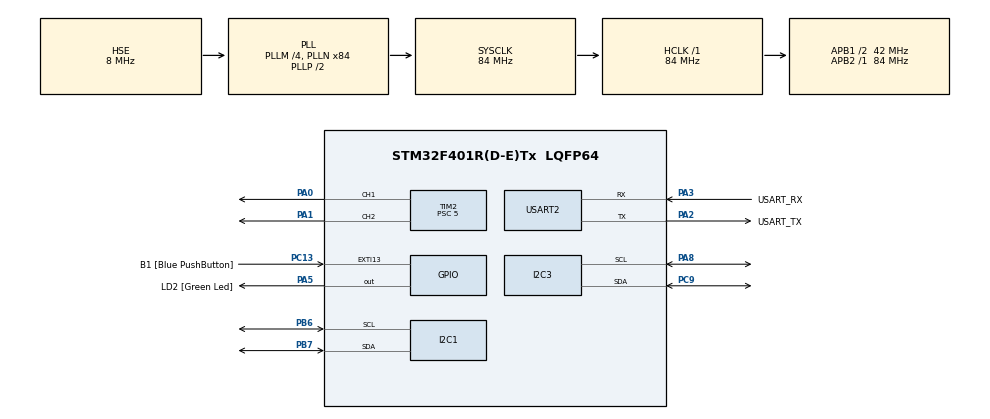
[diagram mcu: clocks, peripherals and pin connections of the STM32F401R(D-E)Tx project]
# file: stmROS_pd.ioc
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Dma.Request0=USART2_RX
Dma.Request1=USART2_TX
Dma.USART2_RX.0.Direction=DMA_PERIPH_TO_MEMORY
Dma.USART2_RX.0.FIFOMode=DMA_FIFOMODE_DISABLE
Dma.USART2_RX.0.Instance=DMA1_Stream5
Dma.USART2_RX.0.MemDataAlignment=DMA_MDATAALIGN_BYTE
Dma.USART2_RX.0.MemInc=DMA_MINC_ENABLE
Dma.USART2_RX.0.Mode=DMA_CIRCULAR
Dma.USART2_RX.0.PeriphDataAlignment=DMA_PDATAALIGN_BYTE
Dma.USART2_RX.0.PeriphInc=DMA_PINC_DISABLE
Dma.USART2_RX.0.Priority=DMA_PRIORITY_VERY_HIGH
Dma.USART2_TX.1.Direction=DMA_MEMORY_TO_PERIPH
Dma.USART2_TX.1.FIFOMode=DMA_FIFOMODE_DISABLE
Dma.USART2_TX.1.Instance=DMA1_Stream6
Dma.USART2_TX.1.MemDataAlignment=DMA_MDATAALIGN_BYTE
Dma.USART2_TX.1.MemInc=DMA_MINC_ENABLE
Dma.USART2_TX.1.Mode=DMA_NORMAL
Dma.USART2_TX.1.PeriphDataAlignment=DMA_PDATAALIGN_BYTE
Dma.USART2_TX.1.PeriphInc=DMA_PINC_DISABLE
Dma.USART2_TX.1.Priority=DMA_PRIORITY_VERY_HIGH
FREERTOS.Tasks01=defaultTask,24,3000,StartDefaultTask,Default,NULL,Static,defaultTaskBuffer,defaultTaskControlBlock
FREERTOS.configUSE_NEWLIB_REENTRANT=1
Mcu.Family=STM32F4
Mcu.Name=STM32F401R(D-E)Tx
Mcu.Package=LQFP64
NVIC.DMA1_Stream5_IRQn=true\:5\:0\:false\:false\:true\:true\:false\:true\:true
NVIC.DMA1_Stream6_IRQn=true\:5\:0\:false\:false\:true\:true\:false\:true\:true
NVIC.PriorityGroup=NVIC_PRIORITYGROUP_4
NVIC.TIM1_UP_TIM10_IRQn=true\:15\:0\:false\:false\:true\:false\:false\:true\:true
NVIC.TIM3_IRQn=true\:5\:0\:false\:false\:true\:true\:true\:true\:true
NVIC.TimeBase=TIM1_UP_TIM10_IRQn
NVIC.TimeBaseIP=TIM1
NVIC.USART2_IRQn=true\:5\:0\:false\:false\:true\:true\:true\:true\:true
PA0-WKUP.Signal=S_TIM2_CH1_ETR
PA1.Signal=S_TIM2_CH2
PA13.GPIO_Label=TMS
PA13.Signal=SYS_JTMS-SWDIO
PA14.GPIO_Label=TCK
PA14.Signal=SYS_JTCK-SWCLK
PA2.GPIO_Label=USART_TX
PA2.GPIO_Mode=GPIO_MODE_AF_PP
PA2.GPIO_PuPd=GPIO_NOPULL
PA2.GPIO_Speed=GPIO_SPEED_FREQ_LOW
PA2.Mode=Asynchronous
PA2.Signal=USART2_TX
PA3.GPIO_Label=USART_RX
PA3.GPIO_Mode=GPIO_MODE_AF_PP
PA3.GPIO_PuPd=GPIO_NOPULL
PA3.GPIO_Speed=GPIO_SPEED_FREQ_LOW
PA3.Mode=Asynchronous
PA3.Signal=USART2_RX
PA5.GPIO_Label=LD2 [Green Led]
PA5.GPIO_Mode=GPIO_MODE_OUTPUT_PP
PA5.GPIO_PuPd=GPIO_NOPULL
PA5.GPIO_Speed=GPIO_SPEED_FREQ_LOW
PA5.Signal=GPIO_Output
PA8.Mode=I2C
PA8.Signal=I2C3_SCL
PB3.GPIO_Label=SWO
PB3.Signal=SYS_JTDO-SWO
PB6.Mode=I2C
PB6.Signal=I2C1_SCL
PB7.Mode=I2C
PB7.Signal=I2C1_SDA
PC13-ANTI_TAMP.GPIO_Label=B1 [Blue PushButton]
PC13-ANTI_TAMP.GPIO_ModeDefaultEXTI=GPIO_MODE_IT_FALLING
PC13-ANTI_TAMP.GPIO_PuPd=GPIO_NOPULL
PC13-ANTI_TAMP.Signal=GPXTI13
PC14-OSC32_IN.Signal=RCC_OSC32_IN
PC15-OSC32_OUT.Signal=RCC_OSC32_OUT
PC9.Mode=I2C
PC9.Signal=I2C3_SDA
PH0\ -\ OSC_IN.Mode=HSE-External-Oscillator
PH0\ -\ OSC_IN.Signal=RCC_OSC_IN
PH1\ -\ OSC_OUT.Mode=HSE-External-Oscillator
PH1\ -\ OSC_OUT.Signal=RCC_OSC_OUT
ProjectManager.HeapSize=0x200
ProjectManager.StackSize=0x400
ProjectManager.TargetToolchain=STM32CubeIDE
RCC.48MHZClocksFreq_Value=24000000
RCC.AHBFreq_Value=84000000
RCC.APB1CLKDivider=RCC_HCLK_DIV2
RCC.APB1Freq_Value=42000000
RCC.APB1TimFreq_Value=84000000
RCC.APB2Freq_Value=84000000
RCC.APB2TimFreq_Value=84000000
RCC.CortexFreq_Value=84000000
RCC.HCLKFreq_Value=84000000
RCC.HSE_VALUE=8000000
RCC.HSI_VALUE=16000000
RCC.LSE_VALUE=32768
RCC.PLLM=4
RCC.PLLN=84
RCC.PLLQ=7
RCC.PLLSourceVirtual=RCC_PLLSOURCE_HSE
RCC.SYSCLKFreq_VALUE=84000000
RCC.SYSCLKSource=RCC_SYSCLKSOURCE_PLLCLK
RCC.VCOOutputFreq_Value=168000000
SH.S_TIM2_CH1_ETR.0=TIM2_CH1,PWM Generation1 CH1
SH.S_TIM2_CH2.0=TIM2_CH2,PWM Generation2 CH2
TIM2.AutoReloadPreload=TIM_AUTORELOAD_PRELOAD_ENABLE
TIM2.Channel-PWM\ Generation1\ CH1=TIM_CHANNEL_1
TIM2.Channel-PWM\ Generation2\ CH2=TIM_CHANNEL_2
TIM2.Period=10000
TIM2.Prescaler=5
TIM3.AutoReloadPreload=TIM_AUTORELOAD_PRELOAD_DISABLE
TIM3.Period=4199
TIM3.Prescaler=999
TIM3.TIM_MasterOutputTrigger=TIM_TRGO_RESET
USART2.VirtualMode=VM_ASYNC
VP_FREERTOS_VS_CMSIS_V2.Mode=CMSIS_V2
VP_SYS_VS_tim1.Mode=TIM1
VP_TIM2_VS_ClockSourceINT.Mode=Internal
VP_TIM3_VS_ClockSourceINT.Mode=Internal
board=NUCLEO-F401RE

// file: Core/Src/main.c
/* USER CODE BEGIN Header */
/**
  ******************************************************************************
  * @file           : main.c
  * @brief          : Main program body
  ******************************************************************************
  * @attention
  *
  * Copyright (c) 2024 STMicroelectronics.
  * All rights reserved.
  *
  * This software is licensed under terms that can be found in the LICENSE file
  * in the root directory of this software component.
  * If no LICENSE file comes with this software, it is provided AS-IS.
  *
  ******************************************************************************
  */
/* USER CODE END Header */
#include "main.h"
#include "cmsis_os.h"

/* USER CODE BEGIN Includes */
#include <rcl/rcl.h>
#include <rcl/error_handling.h>
#include <rclc/rclc.h>
#include <rclc/executor.h>
#include <uxr/client/transport.h>
#include <rmw_microxrcedds_c/config.h>
#include <rmw_microros/rmw_microros.h>

#include <std_msgs/msg/int32.h>
#include <stdbool.h>
/* USER CODE END Includes */

typedef StaticTask_t osStaticThreadDef_t;

/* USER CODE BEGIN PD */
#define ENCODER_SAMPLE_TIME 0.05
//Pan PWM Control
#define PAN_TURNING_MAX 10000
#define PAN_TURNING_NO 6200
#define PAN_TURNING_MIN 0
//Tilt PWM Control
#define TILT_TURNING_MAX 10000
#define TILT_TURNING_NO 5000
#define TILT_TURNING_MIN 0
/* USER CODE END PD */

/* USER CODE BEGIN PM */
#define MAX_PEAKS 30
#define SAMPLES_PER_FRAME 3200
#define SAMPLES_PER_HALF_FRAME 1600
#define MIN_PEAK 420
#define MAX_PEAK_LENGTH 100
#define MIN_CONSECUTIVE_PEAKS 6
/* USER CODE END PM */

I2C_HandleTypeDef hi2c1;
I2C_HandleTypeDef hi2c3;

TIM_HandleTypeDef htim2;
TIM_HandleTypeDef htim3;

UART_HandleTypeDef huart2;
DMA_HandleTypeDef hdma_usart2_rx;
DMA_HandleTypeDef hdma_usart2_tx;

/* Definitions for defaultTask */
osThreadId_t defaultTaskHandle;
uint32_t defaultTaskBuffer[ 3000 ];
osStaticThreadDef_t defaultTaskControlBlock;
const osThreadAttr_t defaultTask_attributes = {
  .name = "defaultTask",
  .cb_mem = &defaultTaskControlBlock,
  .cb_size = sizeof(defaultTaskControlBlock),
  .stack_mem = &defaultTaskBuffer[0],
  .stack_size = sizeof(defaultTaskBuffer),
  .priority = (osPriority_t) osPriorityNormal,
};
/* USER CODE BEGIN PV */
static const uint8_t AS5600_ADDR_PAN = 0x36 << 1;
static const uint8_t AS5600_ADDR_TILT = 0x36 << 1;
uint8_t flag = 0;
uint8_t flag2 = 0, flag3 = 0, flag4 = 0, flag5 = 0, flag6 = 0;
uint8_t flag7 = 0, flag8 = 0;
std_msgs__msg__Int32 msgSubscriber;

uint16_t panTarget = 30;
uint16_t tiltTarget = 30;

uint16_t panDegAngle;
uint16_t tiltDegAngle;

int32_t panDutyPWM = 0;
int32_t tiltDutyPWM = 0;
/* USER CODE END PV */

void SystemClock_Config(void);
static void MX_GPIO_Init(void);
static void MX_DMA_Init(void);
static void MX_USART2_UART_Init(void);
static void MX_TIM3_Init(void);
static void MX_I2C1_Init(void);
static void MX_I2C3_Init(void);
static void MX_TIM2_Init(void);
void StartDefaultTask(void *argument);

int main(void)
{
  /* USER CODE BEGIN 1 */
	flag2 = 1;

  /* USER CODE END 1 */

  /* MCU Configuration--------------------------------------------------------*/

  /* Reset of all peripherals, Initializes the Flash interface and the Systick. */
  HAL_Init();

  /* Configure the system clock */
  SystemClock_Config();

  /* Initialize all configured peripherals */
  MX_GPIO_Init();
  MX_DMA_Init();
  MX_USART2_UART_Init();
  MX_TIM3_Init();
  MX_I2C1_Init();
  MX_I2C3_Init();
  MX_TIM2_Init();
  /* USER CODE BEGIN 2 */
  HAL_TIM_PWM_Start(&htim2, TIM_CHANNEL_1);
  HAL_TIM_PWM_Start(&htim2, TIM_CHANNEL_2);
  HAL_TIM_Base_Start_IT(&htim3);
  /* USER CODE END 2 */

  /* Init scheduler */
  osKernelInitialize();

  /* Create the thread(s) */
  /* creation of defaultTask */
  defaultTaskHandle = osThreadNew(StartDefaultTask, NULL, &defaultTask_attributes);

  /* Start scheduler */
  osKernelStart();

  /* We should never get here as control is now taken by the scheduler */
  /* Infinite loop */
  while (1)
  {

  }
}

void SystemClock_Config(void)
{
  RCC_OscInitTypeDef RCC_OscInitStruct = {0};
  RCC_ClkInitTypeDef RCC_ClkInitStruct = {0};

  /** Configure the main internal regulator output voltage
  */
  __HAL_RCC_PWR_CLK_ENABLE();
  __HAL_PWR_VOLTAGESCALING_CONFIG(PWR_REGULATOR_VOLTAGE_SCALE2);

  /** Initializes the RCC Oscillators according to the specified parameters
  * in the RCC_OscInitTypeDef structure.
  */
  RCC_OscInitStruct.OscillatorType = RCC_OSCILLATORTYPE_HSE;
  RCC_OscInitStruct.HSEState = RCC_HSE_ON;
  RCC_OscInitStruct.PLL.PLLState = RCC_PLL_ON;
  RCC_OscInitStruct.PLL.PLLSource = RCC_PLLSOURCE_HSE;
  RCC_OscInitStruct.PLL.PLLM = 4;
  RCC_OscInitStruct.PLL.PLLN = 84;
  RCC_OscInitStruct.PLL.PLLP = RCC_PLLP_DIV2;
  RCC_OscInitStruct.PLL.PLLQ = 7;
  if (HAL_RCC_OscConfig(&RCC_OscInitStruct) != HAL_OK)
  {
    Error_Handler();
  }

  /** Initializes the CPU, AHB and APB buses clocks
  */
  RCC_ClkInitStruct.ClockType = RCC_CLOCKTYPE_HCLK|RCC_CLOCKTYPE_SYSCLK
                              |RCC_CLOCKTYPE_PCLK1|RCC_CLOCKTYPE_PCLK2;
  RCC_ClkInitStruct.SYSCLKSource = RCC_SYSCLKSOURCE_PLLCLK;
  RCC_ClkInitStruct.AHBCLKDivider = RCC_SYSCLK_DIV1;
  RCC_ClkInitStruct.APB1CLKDivider = RCC_HCLK_DIV2;
  RCC_ClkInitStruct.APB2CLKDivider = RCC_HCLK_DIV1;

  if (HAL_RCC_ClockConfig(&RCC_ClkInitStruct, FLASH_LATENCY_2) != HAL_OK)
  {
    Error_Handler();
  }
}

static void MX_I2C1_Init(void)
{

  hi2c1.Instance = I2C1;
  hi2c1.Init.ClockSpeed = 100000;
  hi2c1.Init.DutyCycle = I2C_DUTYCYCLE_2;
  hi2c1.Init.OwnAddress1 = 0;
  hi2c1.Init.AddressingMode = I2C_ADDRESSINGMODE_7BIT;
  hi2c1.Init.DualAddressMode = I2C_DUALADDRESS_DISABLE;
  hi2c1.Init.OwnAddress2 = 0;
  hi2c1.Init.GeneralCallMode = I2C_GENERALCALL_DISABLE;
  hi2c1.Init.NoStretchMode = I2C_NOSTRETCH_DISABLE;
  if (HAL_I2C_Init(&hi2c1) != HAL_OK)
  {
    Error_Handler();
  }

}

static void MX_I2C3_Init(void)
{

  hi2c3.Instance = I2C3;
  hi2c3.Init.ClockSpeed = 100000;
  hi2c3.Init.DutyCycle = I2C_DUTYCYCLE_2;
  hi2c3.Init.OwnAddress1 = 0;
  hi2c3.Init.AddressingMode = I2C_ADDRESSINGMODE_7BIT;
  hi2c3.Init.DualAddressMode = I2C_DUALADDRESS_DISABLE;
  hi2c3.Init.OwnAddress2 = 0;
  hi2c3.Init.GeneralCallMode = I2C_GENERALCALL_DISABLE;
  hi2c3.Init.NoStretchMode = I2C_NOSTRETCH_DISABLE;
  if (HAL_I2C_Init(&hi2c3) != HAL_OK)
  {
    Error_Handler();
  }

}

static void MX_TIM2_Init(void)
{

  TIM_ClockConfigTypeDef sClockSourceConfig = {0};
  TIM_MasterConfigTypeDef sMasterConfig = {0};
  TIM_OC_InitTypeDef sConfigOC = {0};

  htim2.Instance = TIM2;
  htim2.Init.Prescaler = 5;
  htim2.Init.CounterMode = TIM_COUNTERMODE_UP;
  htim2.Init.Period = 10000;
  htim2.Init.ClockDivision = TIM_CLOCKDIVISION_DIV1;
  htim2.Init.AutoReloadPreload = TIM_AUTORELOAD_PRELOAD_ENABLE;
  if (HAL_TIM_Base_Init(&htim2) != HAL_OK)
  {
    Error_Handler();
  }
  sClockSourceConfig.ClockSource = TIM_CLOCKSOURCE_INTERNAL;
  if (HAL_TIM_ConfigClockSource(&htim2, &sClockSourceConfig) != HAL_OK)
  {
    Error_Handler();
  }
  if (HAL_TIM_PWM_Init(&htim2) != HAL_OK)
  {
    Error_Handler();
  }
  sMasterConfig.MasterOutputTrigger = TIM_TRGO_RESET;
  sMasterConfig.MasterSlaveMode = TIM_MASTERSLAVEMODE_DISABLE;
  if (HAL_TIMEx_MasterConfigSynchronization(&htim2, &sMasterConfig) != HAL_OK)
  {
    Error_Handler();
  }
  sConfigOC.OCMode = TIM_OCMODE_PWM1;
  sConfigOC.Pulse = 0;
  sConfigOC.OCPolarity = TIM_OCPOLARITY_HIGH;
  sConfigOC.OCFastMode = TIM_OCFAST_DISABLE;
  if (HAL_TIM_PWM_ConfigChannel(&htim2, &sConfigOC, TIM_CHANNEL_1) != HAL_OK)
  {
    Error_Handler();
  }
  if (HAL_TIM_PWM_ConfigChannel(&htim2, &sConfigOC, TIM_CHANNEL_2) != HAL_OK)
  {
    Error_Handler();
  }
  HAL_TIM_MspPostInit(&htim2);

}

static void MX_TIM3_Init(void)
{

  TIM_ClockConfigTypeDef sClockSourceConfig = {0};
  TIM_MasterConfigTypeDef sMasterConfig = {0};

  htim3.Instance = TIM3;
  htim3.Init.Prescaler = 999;
  htim3.Init.CounterMode = TIM_COUNTERMODE_UP;
  htim3.Init.Period = 4199;
  htim3.Init.ClockDivision = TIM_CLOCKDIVISION_DIV1;
  htim3.Init.AutoReloadPreload = TIM_AUTORELOAD_PRELOAD_DISABLE;
  if (HAL_TIM_Base_Init(&htim3) != HAL_OK)
  {
    Error_Handler();
  }
  sClockSourceConfig.ClockSource = TIM_CLOCKSOURCE_INTERNAL;
  if (HAL_TIM_ConfigClockSource(&htim3, &sClockSourceConfig) != HAL_OK)
  {
    Error_Handler();
  }
  sMasterConfig.MasterOutputTrigger = TIM_TRGO_RESET;
  sMasterConfig.MasterSlaveMode = TIM_MASTERSLAVEMODE_DISABLE;
  if (HAL_TIMEx_MasterConfigSynchronization(&htim3, &sMasterConfig) != HAL_OK)
  {
    Error_Handler();
  }

}

static void MX_USART2_UART_Init(void)
{

  huart2.Instance = USART2;
  huart2.Init.BaudRate = 115200;
  huart2.Init.WordLength = UART_WORDLENGTH_8B;
  huart2.Init.StopBits = UART_STOPBITS_1;
  huart2.Init.Parity = UART_PARITY_NONE;
  huart2.Init.Mode = UART_MODE_TX_RX;
  huart2.Init.HwFlowCtl = UART_HWCONTROL_NONE;
  huart2.Init.OverSampling = UART_OVERSAMPLING_16;
  if (HAL_UART_Init(&huart2) != HAL_OK)
  {
    Error_Handler();
  }

}

static void MX_DMA_Init(void)
{

  /* DMA controller clock enable */
  __HAL_RCC_DMA1_CLK_ENABLE();

  /* DMA interrupt init */
  /* DMA1_Stream5_IRQn interrupt configuration */
  HAL_NVIC_SetPriority(DMA1_Stream5_IRQn, 5, 0);
  HAL_NVIC_EnableIRQ(DMA1_Stream5_IRQn);
  /* DMA1_Stream6_IRQn interrupt configuration */
  HAL_NVIC_SetPriority(DMA1_Stream6_IRQn, 5, 0);
  HAL_NVIC_EnableIRQ(DMA1_Stream6_IRQn);

}

static void MX_GPIO_Init(void)
{
  GPIO_InitTypeDef GPIO_InitStruct = {0};

  /* GPIO Ports Clock Enable */
  __HAL_RCC_GPIOC_CLK_ENABLE();
  __HAL_RCC_GPIOH_CLK_ENABLE();
  __HAL_RCC_GPIOA_CLK_ENABLE();
  __HAL_RCC_GPIOB_CLK_ENABLE();

  /*Configure GPIO pin Output Level */
  HAL_GPIO_WritePin(LD2_GPIO_Port, LD2_Pin, GPIO_PIN_RESET);

  /*Configure GPIO pin : B1_Pin */
  GPIO_InitStruct.Pin = B1_Pin;
  GPIO_InitStruct.Mode = GPIO_MODE_IT_FALLING;
  GPIO_InitStruct.Pull = GPIO_NOPULL;
  HAL_GPIO_Init(B1_GPIO_Port, &GPIO_InitStruct);

  /*Configure GPIO pin : LD2_Pin */
  GPIO_InitStruct.Pin = LD2_Pin;
  GPIO_InitStruct.Mode = GPIO_MODE_OUTPUT_PP;
  GPIO_InitStruct.Pull = GPIO_NOPULL;
  GPIO_InitStruct.Speed = GPIO_SPEED_FREQ_LOW;
  HAL_GPIO_Init(LD2_GPIO_Port, &GPIO_InitStruct);

}

/* USER CODE BEGIN 4 */
bool cubemx_transport_open(struct uxrCustomTransport * transport);
bool cubemx_transport_close(struct uxrCustomTransport * transport);
size_t cubemx_transport_write(struct uxrCustomTransport* transport, const uint8_t * buf, size_t len, uint8_t * err);
size_t cubemx_transport_read(struct uxrCustomTransport* transport, uint8_t* buf, size_t len, int timeout, uint8_t* err);

void * microros_allocate(size_t size, void * state);
void microros_deallocate(void * pointer, void * state);
void * microros_reallocate(void * pointer, size_t size, void * state);
void * microros_zero_allocate(size_t number_of_elements, size_t size_of_element, void * state);

void subscription_callback(const void * msgin)
{
  // Cast received message to used type

  const std_msgs__msg__Int32 * msgSubscriber = (const std_msgs__msg__Int32 *)msgin;
}
/* USER CODE END 4 */

void StartDefaultTask(void *argument)
{
  /* USER CODE BEGIN 5 */
	  // micro-ROS configuration
	flag4 = 1;

	  rmw_uros_set_custom_transport(
	    true,
	    (void *) &huart2,
	    cubemx_transport_open,
	    cubemx_transport_close,
	    cubemx_transport_write,
	    cubemx_transport_read);

	  rcl_allocator_t freeRTOS_allocator = rcutils_get_zero_initialized_allocator();
	  freeRTOS_allocator.allocate = microros_allocate;
	  freeRTOS_allocator.deallocate = microros_deallocate;
	  freeRTOS_allocator.reallocate = microros_reallocate;
	  freeRTOS_allocator.zero_allocate =  microros_zero_allocate;

	  if (!rcutils_set_default_allocator(&freeRTOS_allocator)) {
	      printf("Error on default allocators (line %d)\n", __LINE__);
	  }

	  // micro-ROS app

	  rcl_publisher_t publisher;
	  std_msgs__msg__Int32 msgPublisher;

	  rcl_publisher_t publisherTest;
	  std_msgs__msg__Int32 msgPublisherTest;

	  rclc_support_t support;
	  rcl_allocator_t allocator;
	  rcl_node_t node;

	  rcl_subscription_t subscriber;

	  rclc_executor_t executor;

	  allocator = rcl_get_default_allocator();

	  //create init_options
	  rclc_support_init(&support, 0, NULL, &allocator);

	  // create node
	  rclc_node_init_default(&node, "pt_node", "", &support);

	  // create publisher
	  rclc_publisher_init_default(
	    &publisher,
	    &node,
	    ROSIDL_GET_MSG_TYPE_SUPPORT(std_msgs, msg, Int32), //std_msgs/msg/Int32
	    "pt_publisher");

	  rclc_publisher_init_default(
	    &publisherTest,
	    &node,
	    ROSIDL_GET_MSG_TYPE_SUPPORT(std_msgs, msg, Int32), //std_msgs/msg/Int32
	    "pt_test_publisher");

	  msgPublisher.data = 0;
	  msgPublisherTest.data = 0;

	  // Create subscriber
	  rclc_subscription_init_default(
	    &subscriber,
	    &node,
	    ROSIDL_GET_MSG_TYPE_SUPPORT(std_msgs, msg, Int32),
	    "pt_subscriber");

	  msgSubscriber.data = 15390;

	  executor = rclc_executor_get_zero_initialized_executor();
	  rclc_executor_init(&executor, &support.context, 1, &allocator);
	  rclc_executor_add_subscription(
	   &executor, &subscriber, &msgSubscriber,
	    &subscription_callback, ON_NEW_DATA);

	  // Spin executor to receive messages

	  //rcl_subscription_fini(&subscriber, &node);
	  //rcl_node_fini(&node);

	  HAL_StatusTypeDef panStatus;
	  uint8_t as5600_panData[3] = {0};
	  uint16_t panLowbyte;
	  uint16_t panHighbyte;
	  uint16_t panRawAngle;
	  float panFloatAngle;
	  int panFlag = 0;

	  HAL_StatusTypeDef tiltStatus;
	  uint8_t as5600_tiltData[3] = {0};
	  uint16_t tiltLowbyte;
	  uint16_t tiltHighbyte;
	  uint16_t tiltRawAngle;
	  float tiltFloatAngle;

	  int tiltFlag = 0;

	  int64_t newPanTarget = 0;
	  int64_t newTiltTarget = 0;
	  int64_t oldPanTarget = 0;
	  int64_t oldTiltTarget = 0;

	  const float panKp = 400;
	  const float panKd = 50;
	  const float tiltKp = 120;
	  const float tiltKd = 60;

	  uint32_t panAndTilt = 0;

	  uint8_t agentState = 0;
	  uint8_t agentCounter = 0;
	  agentState = (RMW_RET_OK == rmw_uros_ping_agent(100, 1));

	  while(1)
	  {
		  rclc_executor_spin_some(&executor,1000*1000*40);
		  /*if(msgSubscriber.data == 6969)
		  {
			  NVIC_SystemReset();
		  }*/

		  msgPublisherTest.data = 1;
		  rcl_publish(&publisherTest, &msgPublisherTest, NULL);

		  flag5 = 1;
		  if(flag == 1)
		  	{
			  	agentCounter ++;
			  	if(agentCounter == 20 && agentState == 0)
			  	{
			  		agentCounter = 0;
			  		if(agentState != (RMW_RET_OK == rmw_uros_ping_agent(200, 1)))
					{
						NVIC_SystemReset();
						//reset
					}
			  	}

		  		flag = 0;
		  		flag6 = 1;

		  		tiltTarget = msgSubscriber.data >> 9;
		  		tiltTarget = tiltTarget + 80;
		  		panTarget = msgSubscriber.data & 511;
		  		panTarget = panTarget + 2 + 8;

		  		panStatus = HAL_I2C_Mem_Read(&hi2c1, AS5600_ADDR_PAN, 0x0B, 1, as5600_panData, 3, 500);
		  		if (panStatus == HAL_ERROR || panStatus == HAL_TIMEOUT)
		  		{
					msgPublisherTest.data = 11;
					rcl_publish(&publisherTest, &msgPublisherTest, NULL);
		  			NVIC_SystemReset();
		  		}

		  		panHighbyte = as5600_panData[1];
		  		panLowbyte = as5600_panData[2];
		  		panRawAngle = panHighbyte << 8 | panLowbyte;
		  		panFloatAngle = panRawAngle * 0.087890625;
		  		panDegAngle = (int)panFloatAngle;
		  		if(panDegAngle < 148)
		  		{
		  		  panDegAngle = 360 -148 + panDegAngle;
		  		}
		  		else
		  		{
		  		  panDegAngle = panDegAngle - 148;
		  		}

				msgPublisherTest.data = 2;
				rcl_publish(&publisherTest, &msgPublisherTest, NULL);

		  		tiltStatus = HAL_I2C_Mem_Read(&hi2c3, AS5600_ADDR_TILT, 0x0B, 1, as5600_tiltData, 3, 500);
		  		if (tiltStatus == HAL_ERROR || tiltStatus == HAL_TIMEOUT)
		  		{
					msgPublisherTest.data = 10;
					rcl_publish(&publisherTest, &msgPublisherTest, NULL);
		  			NVIC_SystemReset();
		  		}

				msgPublisherTest.data = 7;
				rcl_publish(&publisherTest, &msgPublisherTest, NULL);

		  		tiltHighbyte = as5600_tiltData[1];
		  		tiltLowbyte = as5600_tiltData[2];
		  		tiltRawAngle = tiltHighbyte << 8 | tiltLowbyte;
		  		tiltFloatAngle = tiltRawAngle * 0.087890625;
		  		tiltDegAngle = (int)tiltFloatAngle;

				msgPublisherTest.data = 3;
				rcl_publish(&publisherTest, &msgPublisherTest, NULL);

		  		if(tiltDegAngle < 215)
		  		{
		  		  tiltDegAngle = 360 - 215 + tiltDegAngle;
		  		}
		  		else
		  		{
		  		  tiltDegAngle = tiltDegAngle - 215;
		  		}

				//Setting Pan Position
				if(panTarget == panDegAngle)
				{
				  panFlag = 1;

				  TIM2->CCR1 = PAN_TURNING_NO;
				}
				else
				{
				  panFlag = 0;

				  newPanTarget = panTarget - panDegAngle;
				  panDutyPWM = PAN_TURNING_NO + panKp*newPanTarget + panKd*((newPanTarget - oldPanTarget)/ENCODER_SAMPLE_TIME);
				  oldPanTarget = newPanTarget;

				  if(panDutyPWM < PAN_TURNING_MIN)
					panDutyPWM = PAN_TURNING_MIN;
				  if(panDutyPWM > PAN_TURNING_MAX)
					panDutyPWM = PAN_TURNING_MAX;

				  TIM2->CCR1 = panDutyPWM;
				}

				//msgPublisherTest.data = 4;
				//rcl_publish(&publisherTest, &msgPublisherTest, NULL);

				//Setting Tilt Position
				if(tiltTarget == tiltDegAngle)
				{
				  tiltFlag = 1;

				  TIM2->CCR2 = TILT_TURNING_NO;
				}
				else
				{
				  tiltFlag = 0;

				  newTiltTarget = tiltTarget - tiltDegAngle;
				  tiltDutyPWM = TILT_TURNING_NO + tiltKp*newTiltTarget + tiltKd*((newTiltTarget - oldTiltTarget)/ENCODER_SAMPLE_TIME);
				  oldTiltTarget = newTiltTarget;

				  if(tiltDutyPWM < TILT_TURNING_MIN)
					tiltDutyPWM = TILT_TURNING_MIN;
				  if(tiltDutyPWM > TILT_TURNING_MAX)
					tiltDutyPWM = TILT_TURNING_MAX;

				  TIM2->CCR2 = tiltDutyPWM;
				}
				//msgPublisherTest.data = 5;
				//rcl_publish(&publisherTest, &msgPublisherTest, NULL);

				//Send Data
				panAndTilt = 0;
				panAndTilt = (panDegAngle - 8) | ((tiltDegAngle-80) << 9);
				msgPublisher.data = panAndTilt;

			    rcl_ret_t ret = rcl_publish(&publisher, &msgPublisher, NULL);
			    flag7 = 1;
			    if (ret != RCL_RET_OK)
			    {
			    	flag8 = 1;
			      printf("Error publishing (line %d)\n", __LINE__);
			    }

				//msgPublisherTest.data = 6;
				//rcl_publish(&publisherTest, &msgPublisherTest, NULL);

		  	}

				  /*HAL_GPIO_WritePin(GPIOA, GPIO_PIN_5, GPIO_PIN_RESET);
				  //sprintf(MSG, "%d\r\n", 1);
				  //HAL_UART_Transmit(&huart2, MSG, sizeof(MSG), 20);
				  msg.data = 1;
				  rcl_ret_t ret = rcl_publish(&publisher, &msg, NULL);
				  if (ret != RCL_RET_OK)
				  {
				    printf("Error publishing (line %d)\n", __LINE__);
				  }
			  }

		  }*/
	    /*rcl_ret_t ret = rcl_publish(&publisher, &msg, NULL);
	    if (ret != RCL_RET_OK)
	    {
	      printf("Error publishing (line %d)\n", __LINE__);
	    }

	    msg.data++;*/
	  }
  /* USER CODE END 5 */
}

void HAL_TIM_PeriodElapsedCallback(TIM_HandleTypeDef *htim)
{
  if (htim->Instance == TIM1) {
    HAL_IncTick();
  }
  /* USER CODE BEGIN Callback 1 */
  else //if (htim->Instance == TIM3)
  {
	  flag = 1;
	  flag3 = 1;
  }
  /* USER CODE END Callback 1 */
}

void Error_Handler(void)
{
  __disable_irq();
  while (1)
  {
  }
}
